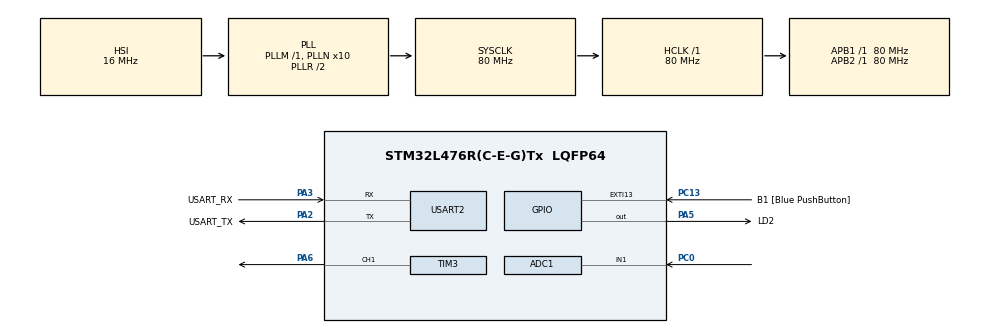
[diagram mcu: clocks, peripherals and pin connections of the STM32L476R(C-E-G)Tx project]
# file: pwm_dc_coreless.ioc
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ADC1.Channel-2\#ChannelRegularConversion=ADC_CHANNEL_1
ADC1.ContinuousConvMode=ENABLE
ADC1.NbrOfConversionFlag=1
ADC1.OffsetNumber-2\#ChannelRegularConversion=ADC_OFFSET_NONE
ADC1.Rank-2\#ChannelRegularConversion=1
ADC1.SamplingTime-2\#ChannelRegularConversion=ADC_SAMPLETIME_2CYCLES_5
ADC1.master=1
Mcu.Family=STM32L4
Mcu.Name=STM32L476R(C-E-G)Tx
Mcu.Package=LQFP64
NVIC.PriorityGroup=NVIC_PRIORITYGROUP_4
NVIC.TIM6_DAC_IRQn=true\:0\:0\:false\:false\:true\:true\:true\:true
PA13\ (JTMS-SWDIO).GPIO_Label=TMS
PA13\ (JTMS-SWDIO).Mode=Serial_Wire
PA13\ (JTMS-SWDIO).Signal=SYS_JTMS-SWDIO
PA14\ (JTCK-SWCLK).GPIO_Label=TCK
PA14\ (JTCK-SWCLK).Mode=Serial_Wire
PA14\ (JTCK-SWCLK).Signal=SYS_JTCK-SWCLK
PA2.GPIO_Label=USART_TX
PA2.GPIO_Mode=GPIO_MODE_AF_PP
PA2.GPIO_PuPd=GPIO_NOPULL
PA2.GPIO_Speed=GPIO_SPEED_FREQ_VERY_HIGH
PA2.Mode=Asynchronous
PA2.Signal=USART2_TX
PA3.GPIO_Label=USART_RX
PA3.GPIO_Mode=GPIO_MODE_AF_PP
PA3.GPIO_PuPd=GPIO_NOPULL
PA3.GPIO_Speed=GPIO_SPEED_FREQ_VERY_HIGH
PA3.Mode=Asynchronous
PA3.Signal=USART2_RX
PA5.GPIO_Label=LD2
PA5.GPIO_ModeDefaultOutputPP=GPIO_MODE_OUTPUT_PP
PA5.GPIO_PuPd=GPIO_NOPULL
PA5.GPIO_Speed=GPIO_SPEED_FREQ_LOW
PA5.Signal=GPIO_Output
PA6.Signal=S_TIM3_CH1
PB3\ (JTDO-TRACESWO).GPIO_Label=SWO
PB3\ (JTDO-TRACESWO).Signal=SYS_JTDO-SWO
PC0.Signal=ADCx_IN1
PC13.GPIO_Label=B1 [Blue PushButton]
PC13.GPIO_ModeDefaultEXTI=GPIO_MODE_IT_FALLING
PC13.GPIO_PuPd=GPIO_NOPULL
PC13.Signal=GPXTI13
PC14-OSC32_IN\ (PC14).Mode=LSE-External-Oscillator
PC14-OSC32_IN\ (PC14).Signal=RCC_OSC32_IN
PC15-OSC32_OUT\ (PC15).Mode=LSE-External-Oscillator
PC15-OSC32_OUT\ (PC15).Signal=RCC_OSC32_OUT
PH0-OSC_IN\ (PH0).Signal=RCC_OSC_IN
PH1-OSC_OUT\ (PH1).Signal=RCC_OSC_OUT
ProjectManager.HeapSize=0x200
ProjectManager.StackSize=0x400
ProjectManager.TargetToolchain=STM32CubeIDE
RCC.ADCFreq_Value=64000000
RCC.AHBFreq_Value=80000000
RCC.APB1Freq_Value=80000000
RCC.APB1TimFreq_Value=80000000
RCC.APB2Freq_Value=80000000
RCC.APB2TimFreq_Value=80000000
RCC.CortexFreq_Value=80000000
RCC.HCLKFreq_Value=80000000
RCC.HSE_VALUE=8000000
RCC.HSI_VALUE=16000000
RCC.MSI_VALUE=4000000
RCC.PLLN=10
RCC.PLLSourceVirtual=RCC_PLLSOURCE_HSI
RCC.PREFETCH_ENABLE=1
RCC.SYSCLKFreq_VALUE=80000000
RCC.SYSCLKSource=RCC_SYSCLKSOURCE_PLLCLK
RCC.USBFreq_Value=64000000
RCC.VCOOutputFreq_Value=160000000
SH.ADCx_IN1.0=ADC1_IN1,IN1-Single-Ended
SH.S_TIM3_CH1.0=TIM3_CH1,PWM Generation1 CH1
TIM3.AutoReloadPreload=TIM_AUTORELOAD_PRELOAD_ENABLE
TIM3.Channel-PWM\ Generation1\ CH1=TIM_CHANNEL_1
TIM3.Period=999
TIM3.Prescaler=8
TIM6.Period=9999
TIM6.Prescaler=7
USART2.VirtualMode-Asynchronous=VM_ASYNC
VP_TIM3_VS_ClockSourceINT.Mode=Internal
VP_TIM6_VS_ClockSourceINT.Mode=Enable_Timer
board=NUCLEO-L476RG

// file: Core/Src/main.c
/* USER CODE BEGIN Header */
/**
  ******************************************************************************
  * @file           : main.c
  * @brief          : Main program body
  ******************************************************************************
  * @attention
  *
  * Copyright (c) 2026 STMicroelectronics.
  * All rights reserved.
  *
  * This software is licensed under terms that can be found in the LICENSE file
  * in the root directory of this software component.
  * If no LICENSE file comes with this software, it is provided AS-IS.
  *
  ******************************************************************************
  */
/* USER CODE END Header */
#include "main.h"
#include "adc.h"
#include "tim.h"
#include "usart.h"
#include "gpio.h"

/* USER CODE BEGIN Includes */
#include <stdio.h>
/* USER CODE END Includes */

/* USER CODE BEGIN PV */
uint16_t adcValue=0, speed=0;
/* USER CODE END PV */

void SystemClock_Config(void);
/* USER CODE BEGIN PFP */
#ifdef __GNUC__
/* With GCC/RAISONANCE, small printf (option LD Linker->Libraries->Small printf
set to 'Yes') calls __io_putchar() */
#define PUTCHAR_PROTOTYPE int __io_putchar(int ch)
#else
#define PUTCHAR_PROTOTYPE int fputc(int ch, FILE *f)
#endif /* __GNUC__ */
/* USER CODE END PFP */

/* USER CODE BEGIN 0 */
void adcRead()
{
	HAL_ADC_Start(&hadc1);
	if (HAL_ADC_PollForConversion(&hadc1, 10) == HAL_OK)
		adcValue = HAL_ADC_GetValue(&hadc1);
	speed = adcValue/4;
	HAL_ADC_Stop(&hadc1);
	//printf("Value=%d\r\n",speed);
}

void speedControl()
{
	__HAL_TIM_SET_COMPARE(&htim3, TIM_CHANNEL_1, speed);
}
/* USER CODE END 0 */

int main(void)
{

  /* MCU Configuration--------------------------------------------------------*/

  /* Reset of all peripherals, Initializes the Flash interface and the Systick. */
  HAL_Init();

  /* Configure the system clock */
  SystemClock_Config();

  /* Initialize all configured peripherals */
  MX_GPIO_Init();
  MX_ADC1_Init();
  MX_TIM6_Init();
  MX_USART2_UART_Init();
  MX_TIM3_Init();
  /* USER CODE BEGIN 2 */
  printf("Program has started!\r\n");
  HAL_TIM_PWM_Start(&htim3, TIM_CHANNEL_1);
  /* USER CODE END 2 */

  /* Infinite loop */
  while (1)
  {

    /* USER CODE BEGIN 3 */
	adcRead();
	speedControl();
  }
  /* USER CODE END 3 */
}

void SystemClock_Config(void)
{
  RCC_OscInitTypeDef RCC_OscInitStruct = {0};
  RCC_ClkInitTypeDef RCC_ClkInitStruct = {0};

  /** Configure the main internal regulator output voltage
  */
  if (HAL_PWREx_ControlVoltageScaling(PWR_REGULATOR_VOLTAGE_SCALE1) != HAL_OK)
  {
    Error_Handler();
  }

  /** Initializes the RCC Oscillators according to the specified parameters
  * in the RCC_OscInitTypeDef structure.
  */
  RCC_OscInitStruct.OscillatorType = RCC_OSCILLATORTYPE_HSI;
  RCC_OscInitStruct.HSIState = RCC_HSI_ON;
  RCC_OscInitStruct.HSICalibrationValue = RCC_HSICALIBRATION_DEFAULT;
  RCC_OscInitStruct.PLL.PLLState = RCC_PLL_ON;
  RCC_OscInitStruct.PLL.PLLSource = RCC_PLLSOURCE_HSI;
  RCC_OscInitStruct.PLL.PLLM = 1;
  RCC_OscInitStruct.PLL.PLLN = 10;
  RCC_OscInitStruct.PLL.PLLP = RCC_PLLP_DIV7;
  RCC_OscInitStruct.PLL.PLLQ = RCC_PLLQ_DIV2;
  RCC_OscInitStruct.PLL.PLLR = RCC_PLLR_DIV2;
  if (HAL_RCC_OscConfig(&RCC_OscInitStruct) != HAL_OK)
  {
    Error_Handler();
  }

  /** Initializes the CPU, AHB and APB buses clocks
  */
  RCC_ClkInitStruct.ClockType = RCC_CLOCKTYPE_HCLK|RCC_CLOCKTYPE_SYSCLK
                              |RCC_CLOCKTYPE_PCLK1|RCC_CLOCKTYPE_PCLK2;
  RCC_ClkInitStruct.SYSCLKSource = RCC_SYSCLKSOURCE_PLLCLK;
  RCC_ClkInitStruct.AHBCLKDivider = RCC_SYSCLK_DIV1;
  RCC_ClkInitStruct.APB1CLKDivider = RCC_HCLK_DIV1;
  RCC_ClkInitStruct.APB2CLKDivider = RCC_HCLK_DIV1;

  if (HAL_RCC_ClockConfig(&RCC_ClkInitStruct, FLASH_LATENCY_4) != HAL_OK)
  {
    Error_Handler();
  }
}

/* USER CODE BEGIN 4 */
PUTCHAR_PROTOTYPE
{
	/* Place your implementation of fputc here */
	/* e.g. write a character to the USART2 and Loop until the end of transmission */
	HAL_UART_Transmit(&huart2, (uint8_t *)&ch, 1, 100);

	return ch;
}
/* USER CODE END 4 */

void Error_Handler(void)
{
  __disable_irq();
  while (1)
  {
  }
}
